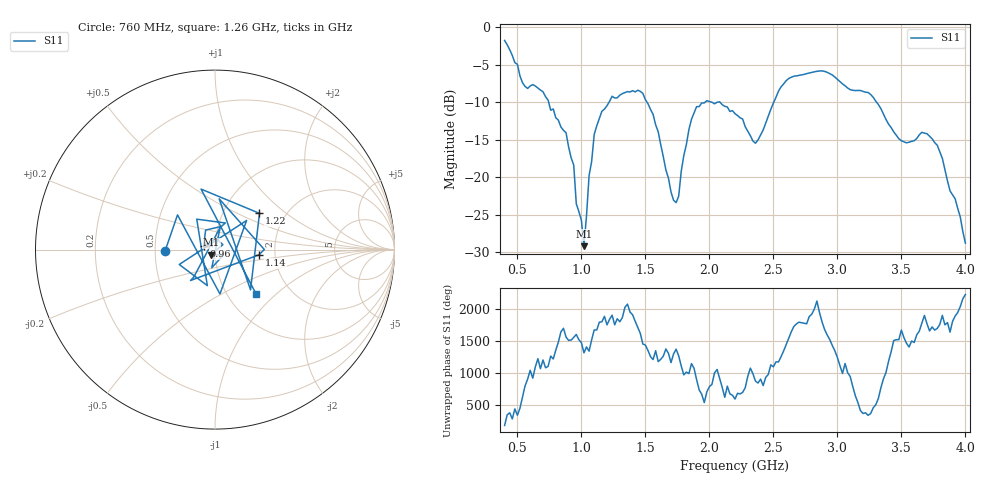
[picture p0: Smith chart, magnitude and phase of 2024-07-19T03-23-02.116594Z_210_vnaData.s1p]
!Created with skrf (http://scikit-rf.org).
# Hz S RI R 50.0
!freq ReS11 ImS11
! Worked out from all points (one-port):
!   181 points, 400 MHz to 4 GHz, reference 50 ohm
!   lowest |S11| = -29.2 dB at 1.02 GHz (marker M1), VSWR 1.07, Z = 47.9 - j2.68 ohm
!   |S11| at or under -10 dB: 743.9 MHz to 1.217 GHz (472.8 MHz wide, 48.2 % of centre); 1.512 GHz to 1.968 GHz (455.4 MHz wide, 26.2 % of centre); 3.305 GHz to end of sweep (the widest 3 of 5)
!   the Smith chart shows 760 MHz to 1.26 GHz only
!   S11 on the Smith chart (normalised r, x): 760 MHz: 0.56, -0.01; 960 MHz: 0.88, +0.04; 1.14 GHz: 1.64, -0.10; 1.22 GHz: 1.48, +0.67; 1.26 GHz: 1.35, -0.75
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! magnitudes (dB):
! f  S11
! 400 MHz  -1.8
! 540 MHz  -7.4
! 760 MHz  -11.1
! 860 MHz  -13.8
! 940 MHz  -18.4
! 960 MHz  -23.5
! 1.02 GHz  -29.2
! 1.06 GHz  -19.8
! 1.1 GHz  -14.3
! 1.14 GHz  -12.2
! 1.22 GHz  -9.9
! 1.26 GHz  -9.5
! 1.3 GHz  -9.1
! 1.48 GHz  -8.8
! 1.6 GHz  -13.9
! 1.72 GHz  -23.1
! 1.76 GHz  -22.5
! 1.84 GHz  -13.6
! 1.9 GHz  -10.6
! 2.2 GHz  -11.5
! 2.36 GHz  -15.5
! 2.66 GHz  -6.6
! 2.9 GHz  -5.9
! 3.1 GHz  -8.3
! 3.26 GHz  -9.0
! 3.56 GHz  -15.3
! 3.78 GHz  -15.7
! 4 GHz  -28.8
